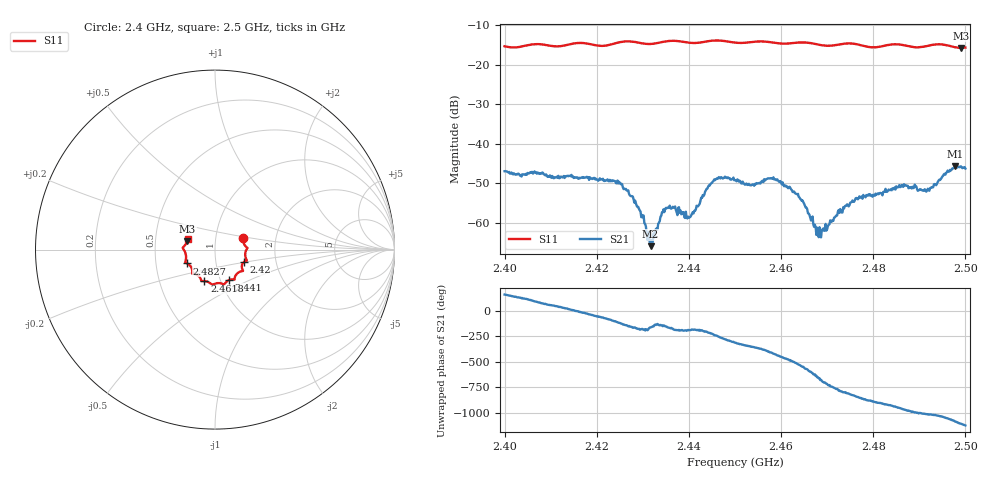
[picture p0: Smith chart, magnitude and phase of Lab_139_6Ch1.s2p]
# Hz S RI R 50
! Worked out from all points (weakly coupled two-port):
!   601 points, 2.4 GHz to 2.5 GHz, reference 50 ohm
!   highest |S21| = -45.65 dB at 2.4978 GHz (marker M1); lowest = -65.9 dB at 2.4317 GHz (marker M2)
!   lowest |S11| = -15.8 dB at 2.499 GHz (marker M3), VSWR 1.39, Z = 36.4 + j3.47 ohm
!   |S11| at or under -10 dB: start of sweep to end of sweep
!   S12 and S22 are empty: the file has one direction only
!   S11 on the Smith chart (normalised r, x): 2.4 GHz: 1.36, +0.18; 2.42 GHz: 1.36, -0.20; 2.441 GHz: 1.10, -0.39; 2.4618 GHz: 0.84, -0.30; 2.4827 GHz: 0.72, -0.12; 2.5 GHz: 0.73, +0.09
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2.4e9  0.158 0.0629  -0.0042 0.00158  0 0  0 0
2.416667e9  0.1773 -0.0605  0.00362 -0.000926  0 0  0 0
2.42e9  0.1593 -0.0702  0.00206 -0.00285  0 0  0 0
2.4265e9  0.1567 -0.1183  -0.00199 -0.00162  0 0  0 0
2.429667e9  0.1395 -0.123  -0.00118 -3.22e-06  0 0  0 0
2.431667e9  0.1209 -0.1359  -0.000484 -0.000152  0 0  0 0
2.433333e9  0.1114 -0.1511  -0.000671 -0.000706  0 0  0 0
2.435333e9  0.1093 -0.1645  -0.00147 -0.000501  0 0  0 0
2.441e9  0.0786 -0.1697  -0.00131 0.000123  0 0  0 0
2.445667e9  0.0508 -0.1946  -0.00175 0.00299  0 0  0 0
2.45e9  0.0284 -0.1871  0.00232 0.00258  0 0  0 0
2.457833e9  -0.0241 -0.1893  0.00248 -0.00267  0 0  0 0
2.461833e9  -0.0594 -0.1755  -0.00163 -0.00235  0 0  0 0
2.466667e9  -0.0783 -0.1683  -0.000437 0.000996  0 0  0 0
2.469e9  -0.0874 -0.1512  0.000746 0.000362  0 0  0 0
2.476e9  -0.1272 -0.1303  -0.000749 -0.00177  0 0  0 0
2.482667e9  -0.156 -0.0772  -0.0026 0.000666  0 0  0 0
2.483333e9  -0.1602 -0.0755  -0.00243 0.000995  0 0  0 0
2.491833e9  -0.1723 -0.0032  0.000971 0.00251  0 0  0 0
2.497833e9  -0.162 0.0318  0.0052 -0.000468  0 0  0 0
2.499e9  -0.1552 0.0464  0.00475 -0.00208  0 0  0 0
2.5e9  -0.1521 0.0608  0.00361 -0.00324  0 0  0 0
